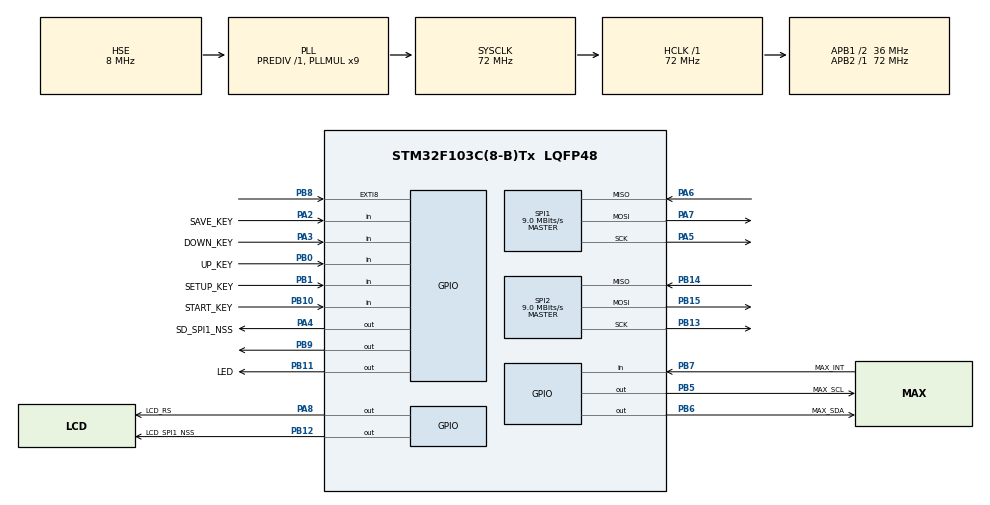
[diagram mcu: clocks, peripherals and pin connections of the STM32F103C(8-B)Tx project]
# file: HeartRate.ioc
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Dma.Request0=SPI2_TX
Dma.Request1=SPI2_RX
Dma.SPI2_RX.1.Direction=DMA_PERIPH_TO_MEMORY
Dma.SPI2_RX.1.Instance=DMA1_Channel4
Dma.SPI2_RX.1.MemDataAlignment=DMA_MDATAALIGN_BYTE
Dma.SPI2_RX.1.MemInc=DMA_MINC_ENABLE
Dma.SPI2_RX.1.Mode=DMA_NORMAL
Dma.SPI2_RX.1.PeriphDataAlignment=DMA_PDATAALIGN_BYTE
Dma.SPI2_RX.1.PeriphInc=DMA_PINC_DISABLE
Dma.SPI2_RX.1.Priority=DMA_PRIORITY_LOW
Dma.SPI2_TX.0.Direction=DMA_MEMORY_TO_PERIPH
Dma.SPI2_TX.0.Instance=DMA1_Channel5
Dma.SPI2_TX.0.MemDataAlignment=DMA_MDATAALIGN_BYTE
Dma.SPI2_TX.0.MemInc=DMA_MINC_ENABLE
Dma.SPI2_TX.0.Mode=DMA_NORMAL
Dma.SPI2_TX.0.PeriphDataAlignment=DMA_PDATAALIGN_BYTE
Dma.SPI2_TX.0.PeriphInc=DMA_PINC_DISABLE
Dma.SPI2_TX.0.Priority=DMA_PRIORITY_LOW
FREERTOS.INCLUDE_eTaskGetState=1
FREERTOS.INCLUDE_uxTaskGetStackHighWaterMark=1
FREERTOS.INCLUDE_vTaskDelayUntil=1
FREERTOS.Tasks01=defaultTask,0,128,StartDefaultTask,Default,NULL,Dynamic,NULL,NULL;NameLedAndTest,-2,64,LedAndTestTask,As weak,NULL,Dynamic,NULL,NULL;NameProcessMax,0,128,ProcessMaxTask,As weak,NULL,Dynamic,NULL,NULL;NameProcessKey,-1,128,ProcessKeyTask,Default,NULL,Dynamic,NULL,NULL
FREERTOS.configMINIMAL_STACK_SIZE=64
FREERTOS.configTOTAL_HEAP_SIZE=4096
FREERTOS.configUSE_ALTERNATIVE_API=1
FREERTOS.configUSE_COUNTING_SEMAPHORES=1
FREERTOS.configUSE_PORT_OPTIMISED_TASK_SELECTION=1
Mcu.Family=STM32F1
Mcu.Name=STM32F103C(8-B)Tx
Mcu.Package=LQFP48
NVIC.DMA1_Channel4_IRQn=true\:5\:0\:false\:false\:true\:true
NVIC.DMA1_Channel5_IRQn=true\:5\:0\:false\:false\:true\:true
NVIC.PriorityGroup=NVIC_PRIORITYGROUP_4
PA13.Mode=Serial_Wire
PA13.Signal=SYS_JTMS-SWDIO
PA14.Mode=Serial_Wire
PA14.Signal=SYS_JTCK-SWCLK
PA2.GPIO_Label=SAVE_KEY
PA2.Signal=GPIO_Input
PA3.GPIO_Label=DOWN_KEY
PA3.Signal=GPIO_Input
PA4.GPIO_Label=SD_SPI1_NSS
PA4.GPIO_Speed=GPIO_SPEED_FREQ_HIGH
PA4.PinState=GPIO_PIN_SET
PA4.Signal=GPIO_Output
PA5.Mode=Full_Duplex_Master
PA5.Signal=SPI1_SCK
PA6.Mode=Full_Duplex_Master
PA6.Signal=SPI1_MISO
PA7.Mode=Full_Duplex_Master
PA7.Signal=SPI1_MOSI
PA8.GPIO_Label=LCD_RS
PA8.GPIO_Speed=GPIO_SPEED_FREQ_HIGH
PA8.PinState=GPIO_PIN_SET
PA8.Signal=GPIO_Output
PB0.GPIO_Label=UP_KEY
PB0.Signal=GPIO_Input
PB1.GPIO_Label=SETUP_KEY
PB1.Signal=GPIO_Input
PB10.GPIO_Label=START_KEY
PB10.Signal=GPIO_Input
PB11.GPIO_Label=LED
PB11.PinState=GPIO_PIN_SET
PB11.Signal=GPIO_Output
PB12.GPIO_Label=LCD_SPI1_NSS
PB12.GPIO_Speed=GPIO_SPEED_FREQ_HIGH
PB12.PinState=GPIO_PIN_SET
PB12.Signal=GPIO_Output
PB13.Mode=Full_Duplex_Master
PB13.Signal=SPI2_SCK
PB14.Mode=Full_Duplex_Master
PB14.Signal=SPI2_MISO
PB15.Mode=Full_Duplex_Master
PB15.Signal=SPI2_MOSI
PB5.GPIO_Label=MAX_SCL
PB5.GPIO_ModeDefaultOutputPP=GPIO_MODE_OUTPUT_OD
PB5.GPIO_Speed=GPIO_SPEED_FREQ_MEDIUM
PB5.PinState=GPIO_PIN_SET
PB5.Signal=GPIO_Output
PB6.GPIO_Label=MAX_SDA
PB6.GPIO_ModeDefaultOutputPP=GPIO_MODE_OUTPUT_OD
PB6.GPIO_Speed=GPIO_SPEED_FREQ_MEDIUM
PB6.PinState=GPIO_PIN_SET
PB6.Signal=GPIO_Output
PB7.GPIO_Label=MAX_INT
PB7.GPIO_PuPd=GPIO_PULLUP
PB7.Signal=GPIO_Input
PB8.Signal=GPXTI8
PB9.Signal=GPIO_Output
PC14-OSC32_IN.Mode=LSE-External-Oscillator
PC14-OSC32_IN.Signal=RCC_OSC32_IN
PC15-OSC32_OUT.Mode=LSE-External-Oscillator
PC15-OSC32_OUT.Signal=RCC_OSC32_OUT
PD0-OSC_IN.Mode=HSE-External-Oscillator
PD0-OSC_IN.Signal=RCC_OSC_IN
PD1-OSC_OUT.Mode=HSE-External-Oscillator
PD1-OSC_OUT.Signal=RCC_OSC_OUT
ProjectManager.HeapSize=0x200
ProjectManager.StackSize=0x400
ProjectManager.TargetToolchain=MDK-ARM V5
RCC.AHBFreq_Value=72000000
RCC.APB1CLKDivider=RCC_HCLK_DIV2
RCC.APB1Freq_Value=36000000
RCC.APB1TimFreq_Value=72000000
RCC.APB2Freq_Value=72000000
RCC.APB2TimFreq_Value=72000000
RCC.HCLKFreq_Value=72000000
RCC.HSIState=RCC_HSI_ON
RCC.PLLMUL=RCC_PLL_MUL9
RCC.PLLSourceVirtual=RCC_PLLSOURCE_HSE
RCC.SYSCLKFreq_VALUE=72000000
RCC.SYSCLKSource=RCC_SYSCLKSOURCE_PLLCLK
RCC.USBFreq_Value=72000000
SPI1.BaudRatePrescaler=SPI_BAUDRATEPRESCALER_8
SPI1.CalculateBaudRate=9.0 MBits/s
SPI1.Mode=SPI_MODE_MASTER
SPI2.BaudRatePrescaler=SPI_BAUDRATEPRESCALER_4
SPI2.CLKPhase=SPI_PHASE_2EDGE
SPI2.CLKPolarity=SPI_POLARITY_HIGH
SPI2.CalculateBaudRate=9.0 MBits/s
SPI2.Mode=SPI_MODE_MASTER
VP_FREERTOS_VS_ENABLE.Mode=Enabled
VP_RTC_VS_RTC_Activate.Mode=RTC_Enabled
VP_RTC_VS_RTC_Calendar.Mode=RTC_Calendar
board=HeartRate

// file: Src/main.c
/**
  ******************************************************************************
  * File Name          : main.c
  * Description        : Main program body
  ******************************************************************************
  *
  * Copyright (c) 2018 STMicroelectronics International N.V.
  * All rights reserved.
  *
  * Redistribution and use in source and binary forms, with or without
  * modification, are permitted, provided that the following conditions are met:
  *
  * 1. Redistribution of source code must retain the above copyright notice,
  *    this list of conditions and the following disclaimer.
  * 2. Redistributions in binary form must reproduce the above copyright notice,
  *    this list of conditions and the following disclaimer in the documentation
  *    and/or other materials provided with the distribution.
  * 3. Neither the name of STMicroelectronics nor the names of other
  *    contributors to this software may be used to endorse or promote products
  *    derived from this software without specific written permission.
  * 4. This software, including modifications and/or derivative works of this
  *    software, must execute solely and exclusively on microcontroller or
  *    microprocessor devices manufactured by or for STMicroelectronics.
  * 5. Redistribution and use of this software other than as permitted under
  *    this license is void and will automatically terminate your rights under
  *    this license.
  *
  * THIS SOFTWARE IS PROVIDED BY STMICROELECTRONICS AND CONTRIBUTORS "AS IS"
  * AND ANY EXPRESS, IMPLIED OR STATUTORY WARRANTIES, INCLUDING, BUT NOT
  * LIMITED TO, THE IMPLIED WARRANTIES OF MERCHANTABILITY, FITNESS FOR A
  * PARTICULAR PURPOSE AND NON-INFRINGEMENT OF THIRD PARTY INTELLECTUAL PROPERTY
  * RIGHTS ARE DISCLAIMED TO THE FULLEST EXTENT PERMITTED BY LAW. IN NO EVENT
  * SHALL STMICROELECTRONICS OR CONTRIBUTORS BE LIABLE FOR ANY DIRECT, INDIRECT,
  * INCIDENTAL, SPECIAL, EXEMPLARY, OR CONSEQUENTIAL DAMAGES (INCLUDING, BUT NOT
  * LIMITED TO, PROCUREMENT OF SUBSTITUTE GOODS OR SERVICES; LOSS OF USE, DATA,
  * OR PROFITS; OR BUSINESS INTERRUPTION) HOWEVER CAUSED AND ON ANY THEORY OF
  * LIABILITY, WHETHER IN CONTRACT, STRICT LIABILITY, OR TORT (INCLUDING
  * NEGLIGENCE OR OTHERWISE) ARISING IN ANY WAY OUT OF THE USE OF THIS SOFTWARE,
  * EVEN IF ADVISED OF THE POSSIBILITY OF SUCH DAMAGE.
  *
  ******************************************************************************
  */
#include "main.h"
#include "stm32f1xx_hal.h"
#include "cmsis_os.h"
#include "dma.h"
#include "rtc.h"
#include "spi.h"
#include "gpio.h"

/* USER CODE BEGIN Includes */
#include "BspI2CSoftDriver.h"
#include "DrvMax.h"
#include "DrvLcd.h"
/* USER CODE END Includes */

/* USER CODE BEGIN PV */
/* Private variables ---------------------------------------------------------*/

/* USER CODE END PV */

void SystemClock_Config(void);
void Error_Handler(void);
void MX_FREERTOS_Init(void);

/* USER CODE BEGIN PFP */
/* Private function prototypes -----------------------------------------------*/

/* USER CODE END PFP */

/* USER CODE BEGIN 0 */
static void UserInit(void)
{
	BspI2CMasterInit();
  DrvBaroMaxInit();
  DrvLcdInit();
}
/* USER CODE END 0 */

int main(void)
{

  /* MCU Configuration----------------------------------------------------------*/

  /* Reset of all peripherals, Initializes the Flash interface and the Systick. */
  HAL_Init();

  /* Configure the system clock */
  SystemClock_Config();

  /* Initialize all configured peripherals */
  MX_GPIO_Init();
  MX_DMA_Init();
  MX_RTC_Init();
  MX_SPI1_Init();
  MX_SPI2_Init();

  /* USER CODE BEGIN 2 */
  UserInit();
  /* USER CODE END 2 */

  /* Call init function for freertos objects (in freertos.c) */
  MX_FREERTOS_Init();

  /* Start scheduler */
  osKernelStart();

  /* We should never get here as control is now taken by the scheduler */

  /* Infinite loop */
  while (1)
  {

  }

}

/** System Clock Configuration
*/
void SystemClock_Config(void)
{

  RCC_OscInitTypeDef RCC_OscInitStruct;
  RCC_ClkInitTypeDef RCC_ClkInitStruct;
  RCC_PeriphCLKInitTypeDef PeriphClkInit;

    /**Initializes the CPU, AHB and APB busses clocks
    */
  RCC_OscInitStruct.OscillatorType = RCC_OSCILLATORTYPE_LSI|RCC_OSCILLATORTYPE_HSE;
  RCC_OscInitStruct.HSEState = RCC_HSE_ON;
  RCC_OscInitStruct.HSEPredivValue = RCC_HSE_PREDIV_DIV1;
  RCC_OscInitStruct.HSIState = RCC_HSI_ON;
  RCC_OscInitStruct.LSIState = RCC_LSI_ON;
  RCC_OscInitStruct.PLL.PLLState = RCC_PLL_ON;
  RCC_OscInitStruct.PLL.PLLSource = RCC_PLLSOURCE_HSE;
  RCC_OscInitStruct.PLL.PLLMUL = RCC_PLL_MUL9;
  if (HAL_RCC_OscConfig(&RCC_OscInitStruct) != HAL_OK)
  {
    Error_Handler();
  }

    /**Initializes the CPU, AHB and APB busses clocks
    */
  RCC_ClkInitStruct.ClockType = RCC_CLOCKTYPE_HCLK|RCC_CLOCKTYPE_SYSCLK
                              |RCC_CLOCKTYPE_PCLK1|RCC_CLOCKTYPE_PCLK2;
  RCC_ClkInitStruct.SYSCLKSource = RCC_SYSCLKSOURCE_PLLCLK;
  RCC_ClkInitStruct.AHBCLKDivider = RCC_SYSCLK_DIV1;
  RCC_ClkInitStruct.APB1CLKDivider = RCC_HCLK_DIV2;
  RCC_ClkInitStruct.APB2CLKDivider = RCC_HCLK_DIV1;

  if (HAL_RCC_ClockConfig(&RCC_ClkInitStruct, FLASH_LATENCY_2) != HAL_OK)
  {
    Error_Handler();
  }

  PeriphClkInit.PeriphClockSelection = RCC_PERIPHCLK_RTC;
  PeriphClkInit.RTCClockSelection = RCC_RTCCLKSOURCE_LSI;
  if (HAL_RCCEx_PeriphCLKConfig(&PeriphClkInit) != HAL_OK)
  {
    Error_Handler();
  }

    /**Configure the Systick interrupt time
    */
  HAL_SYSTICK_Config(HAL_RCC_GetHCLKFreq()/1000);

    /**Configure the Systick
    */
  HAL_SYSTICK_CLKSourceConfig(SYSTICK_CLKSOURCE_HCLK);

  /* SysTick_IRQn interrupt configuration */
  HAL_NVIC_SetPriority(SysTick_IRQn, 15, 0);
}

void Error_Handler(void)
{
  while(1)
  {
  }
}

/************************ (C) COPYRIGHT STMicroelectronics *****END OF FILE****/

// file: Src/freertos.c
/**
  ******************************************************************************
  * File Name          : freertos.c
  * Description        : Code for freertos applications
  ******************************************************************************
  *
  * Copyright (c) 2018 STMicroelectronics International N.V.
  * All rights reserved.
  *
  * Redistribution and use in source and binary forms, with or without
  * modification, are permitted, provided that the following conditions are met:
  *
  * 1. Redistribution of source code must retain the above copyright notice,
  *    this list of conditions and the following disclaimer.
  * 2. Redistributions in binary form must reproduce the above copyright notice,
  *    this list of conditions and the following disclaimer in the documentation
  *    and/or other materials provided with the distribution.
  * 3. Neither the name of STMicroelectronics nor the names of other
  *    contributors to this software may be used to endorse or promote products
  *    derived from this software without specific written permission.
  * 4. This software, including modifications and/or derivative works of this
  *    software, must execute solely and exclusively on microcontroller or
  *    microprocessor devices manufactured by or for STMicroelectronics.
  * 5. Redistribution and use of this software other than as permitted under
  *    this license is void and will automatically terminate your rights under
  *    this license.
  *
  * THIS SOFTWARE IS PROVIDED BY STMICROELECTRONICS AND CONTRIBUTORS "AS IS"
  * AND ANY EXPRESS, IMPLIED OR STATUTORY WARRANTIES, INCLUDING, BUT NOT
  * LIMITED TO, THE IMPLIED WARRANTIES OF MERCHANTABILITY, FITNESS FOR A
  * PARTICULAR PURPOSE AND NON-INFRINGEMENT OF THIRD PARTY INTELLECTUAL PROPERTY
  * RIGHTS ARE DISCLAIMED TO THE FULLEST EXTENT PERMITTED BY LAW. IN NO EVENT
  * SHALL STMICROELECTRONICS OR CONTRIBUTORS BE LIABLE FOR ANY DIRECT, INDIRECT,
  * INCIDENTAL, SPECIAL, EXEMPLARY, OR CONSEQUENTIAL DAMAGES (INCLUDING, BUT NOT
  * LIMITED TO, PROCUREMENT OF SUBSTITUTE GOODS OR SERVICES; LOSS OF USE, DATA,
  * OR PROFITS; OR BUSINESS INTERRUPTION) HOWEVER CAUSED AND ON ANY THEORY OF
  * LIABILITY, WHETHER IN CONTRACT, STRICT LIABILITY, OR TORT (INCLUDING
  * NEGLIGENCE OR OTHERWISE) ARISING IN ANY WAY OUT OF THE USE OF THIS SOFTWARE,
  * EVEN IF ADVISED OF THE POSSIBILITY OF SUCH DAMAGE.
  *
  ******************************************************************************
  */

#include "FreeRTOS.h"
#include "task.h"
#include "cmsis_os.h"

/* USER CODE BEGIN Includes */
#include "gpio.h"
#include "DrvMax.h"
#include "DrvLcd.h"
/* USER CODE END Includes */

osThreadId defaultTaskHandle;
osThreadId NameLedAndTestHandle;
osThreadId NameProcessMaxHandle;
osThreadId NameProcessKeyHandle;

void StartDefaultTask(void const * argument);
void LedAndTestTask(void const * argument);
void ProcessMaxTask(void const * argument);
void ProcessKeyTask(void const * argument);

void MX_FREERTOS_Init(void); /* (MISRA C 2004 rule 8.1) */

/* USER CODE BEGIN FunctionPrototypes */
u8 temp_num = 0;
u8 max_fifo_data[6] = {0};
uint32_t max_red;
uint32_t max_ir;
u8 max_wr_ptr;
u8 max_rd_ptr;
extern u8 dis_hr,dis_spo2,dis_data_ready;
u8 last_dis_hr = 0, last_dis_spo2 = 0;
u8 is_dis_flag = 0;
/* USER CODE END FunctionPrototypes */

/* Hook prototypes */

/* Init FreeRTOS */

void MX_FREERTOS_Init(void) {

  /* Create the thread(s) */
  /* definition and creation of defaultTask */
  osThreadDef(defaultTask, StartDefaultTask, osPriorityNormal, 0, 128);
  defaultTaskHandle = osThreadCreate(osThread(defaultTask), NULL);

  /* definition and creation of NameLedAndTest */
  osThreadDef(NameLedAndTest, LedAndTestTask, osPriorityLow, 0, 64);
  NameLedAndTestHandle = osThreadCreate(osThread(NameLedAndTest), NULL);

  /* definition and creation of NameProcessMax */
  osThreadDef(NameProcessMax, ProcessMaxTask, osPriorityRealtime, 0, 256);
  NameProcessMaxHandle = osThreadCreate(osThread(NameProcessMax), NULL);

  /* definition and creation of NameProcessKey */
  osThreadDef(NameProcessKey, ProcessKeyTask, osPriorityBelowNormal, 0, 128);
  NameProcessKeyHandle = osThreadCreate(osThread(NameProcessKey), NULL);

}
extern uint32_t aun_ir_buffer[500]; //IR LED sensor data
extern uint32_t aun_red_buffer[500];    //Red LED sensor data
u32 last_dis_ir_buf = 0;

void dis_DrawCurve(u32* data,u8 x)
{
	u16 i;
	u32 max=0,min=262144;
	u32 temp;
	u32 compress;

	for(i=0;i<440;i++)
	{
		if(data[i]>max)
		{
			max = data[i];
		}
		if(data[i]<min)
		{
			min = data[i];
		}
	}

	compress = (max-min)/138;

	for(i=0;i<440;i++)
	{
		temp = data[i];
		temp -= min;
		temp/=compress;
		if(temp>138)temp=138;

//    DrawPixel(i+41,319-x-temp,BLUE);

    Line(i+41,319-x-last_dis_ir_buf,i+42,319-x-temp,BLUE);   //显示心率曲线

    last_dis_ir_buf = temp;

//		OLED_DrawPoint(i,63-x-temp,1);
	}
}

/* StartDefaultTask function */
void StartDefaultTask(void const * argument)
{

  /* USER CODE BEGIN StartDefaultTask */
//  u8 temp[6];
  u8 num = 0;
  u16 hr_x = 40;
  u16 dis_spo2_x = 40;
  u8 dis_delay = 0;
  /* Infinite loop */
  for(;;)
  {
    if(dis_hr>10 && dis_spo2!=0 && dis_data_ready == 1)
    {
      dis_data_ready = 0;
      if(!is_dis_flag)
      {
        dis_DrawCurve(aun_red_buffer,140);
        dis_DrawCurve(aun_ir_buffer,0);
        is_dis_flag = 1;
      }

      print_num(190,13,dis_hr);//显示心率
      print_num(318,13,dis_spo2); //显示血氧浓度
#if 0
      if(dis_hr>10)
      Line(hr_x,178-last_dis_hr,hr_x+2,178-dis_hr,BLUE);   //显示心率曲线
      hr_x = hr_x+2;

      if(hr_x>479)   //循环显示
        hr_x = 40;
      if(dis_hr>10)
      last_dis_hr = dis_hr;

      if(dis_spo2>0)
      Line(dis_spo2_x,319-last_dis_spo2,dis_spo2_x+2,319-dis_spo2,BLUE);     //显示血氧曲线
      dis_spo2_x = dis_spo2_x+2;

      if(dis_spo2_x>479)
        dis_spo2_x = 40;

      if(dis_spo2>30)
      last_dis_spo2 = dis_spo2;
#endif
    }
    if(is_dis_flag)
      dis_delay ++;

    if(dis_delay>10)
    {
      clean_dis_curve();
      is_dis_flag = 0;
      dis_delay = 0;
    }

    osDelay(5);
  }
  /* USER CODE END StartDefaultTask */
}

/* LedAndTestTask function */
__weak void LedAndTestTask(void const * argument)
{
  /* USER CODE BEGIN LedAndTestTask */
  /* Infinite loop */
  for(;;)
  {
    HAL_GPIO_TogglePin(LED_GPIO_Port,LED_Pin);
    osDelay(500);
  }
  /* USER CODE END LedAndTestTask */
}

/* ProcessMaxTask function */
__weak void ProcessMaxTask(void const * argument)
{
  for(;;)
  {
    osDelay(1);
  }
}

/* ProcessKeyTask function */
void ProcessKeyTask(void const * argument)
{
  for(;;)
  {
    osDelay(1);
  }
}

/************************ (C) COPYRIGHT STMicroelectronics *****END OF FILE****/
